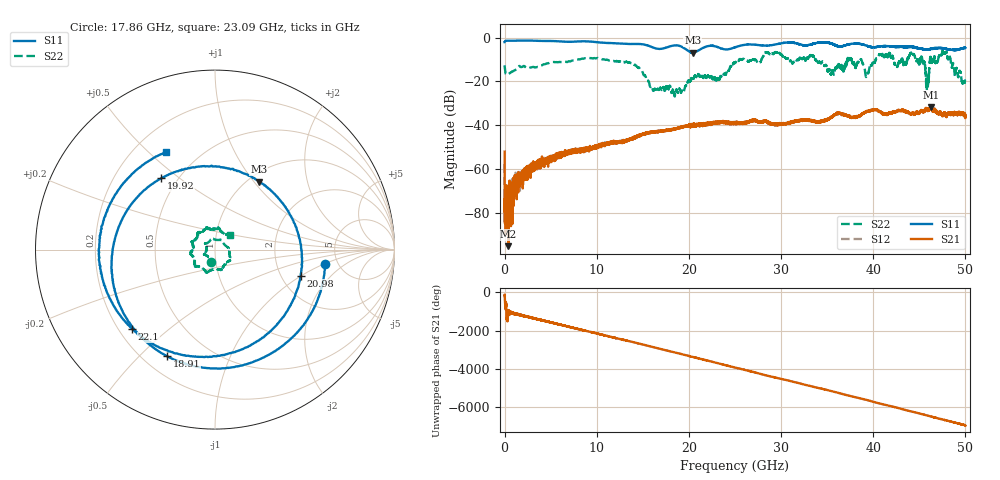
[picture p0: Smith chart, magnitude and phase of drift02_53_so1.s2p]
!Created with skrf (http://scikit-rf.org).
# Hz S RI R 50.0
!freq ReS11 ImS11 ReS21 ImS21 ReS12 ImS12 ReS22 ImS22
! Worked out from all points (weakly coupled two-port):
!   10001 points, 300 kHz to 50 GHz, reference 50 ohm
!   highest |S21| = -31.70 dB at 46.24 GHz (marker M1); lowest = -95.3 dB at 405.3 MHz (marker M2)
!   lowest |S11| = -6.9 dB at 20.42 GHz (marker M3), VSWR 2.64, Z = 55.8 + j52.9 ohm
!   |S11| at or under -10 dB: nowhere
!   |S22| runs from -27.0 to -6.1 dB; largest |S21 - S12| = 0.0035
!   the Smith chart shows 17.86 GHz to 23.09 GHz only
!   S11 on the Smith chart (normalised r, x): 17.86 GHz: 3.98, -1.00; 18.91 GHz: 0.29, -0.61; 19.92 GHz: 0.41, +0.43; 20.98 GHz: 2.55, -1.00; 22.1 GHz: 0.25, -0.38; 23.09 GHz: 0.33, +0.57
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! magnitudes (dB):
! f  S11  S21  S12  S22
! 300 kHz  -2.1  -52.1  -57.8  -12.7
! 405.3 MHz  -1.4  -95.3  -76.5  -16.7
! 3.105 GHz  -1.4  -60.1  -59.7  -13.4
! 8.335 GHz  -1.7  -52.2  -51.3  -9.7
! 13.7 GHz  -3.0  -46.2  -46.4  -11.7
! 16.67 GHz  -5.2  -42.7  -43.0  -23.6
! 17.86 GHz  -4.2  -42.4  -42.4  -22.9
! 18.91 GHz  -3.7  -41.3  -41.3  -23.8
! 19.92 GHz  -6.1  -40.2  -40.2  -19.9
! 20.42 GHz  -6.9  -39.6  -40.1  -19.1
! 20.98 GHz  -6.0  -39.8  -40.0  -16.7
! 22.1 GHz  -3.9  -39.7  -39.4  -17.6
! 23.09 GHz  -4.3  -38.5  -39.1  -18.7
! 25 GHz  -4.5  -38.9  -38.7  -11.6
! 33.34 GHz  -3.0  -38.0  -38.2  -8.4
! 39.33 GHz  -3.8  -33.8  -33.5  -16.6
! 41.67 GHz  -3.9  -34.7  -34.7  -7.7
! 44.26 GHz  -4.3  -34.7  -34.4  -7.4
! 45.85 GHz  -5.4  -32.8  -32.8  -21.4
! 46.24 GHz  -5.3  -31.7  -31.9  -10.1
! 47.75 GHz  -4.9  -34.4  -34.6  -7.3
! 50 GHz  -4.7  -35.9  -35.6  -19.2
